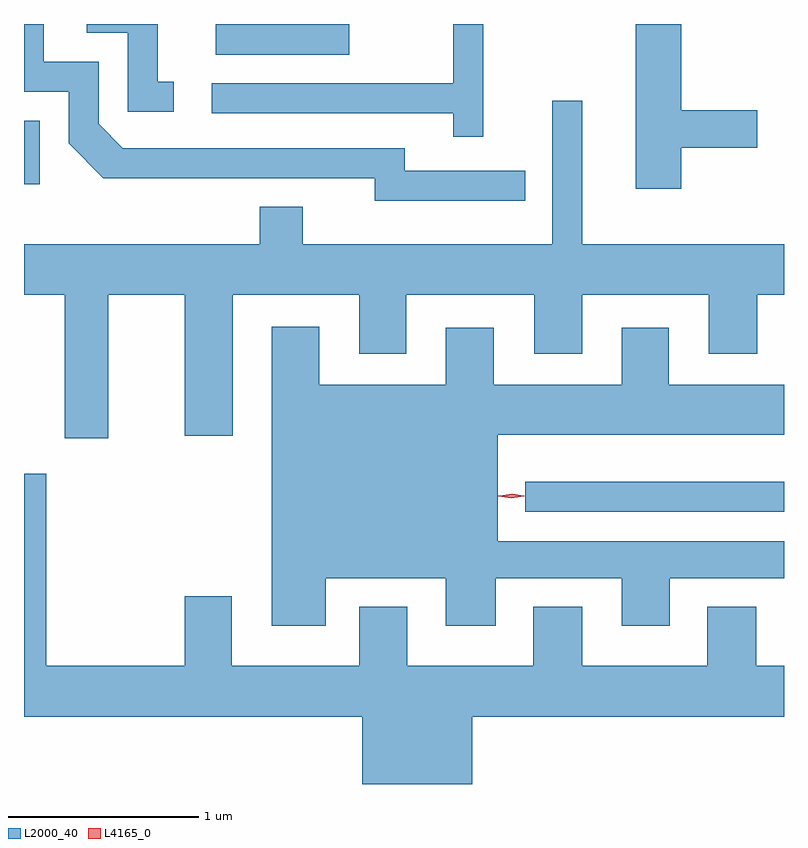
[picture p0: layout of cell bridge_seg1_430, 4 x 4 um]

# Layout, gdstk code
import gdstk
lib = gdstk.Library(unit=1e-6, precision=1e-09)
def R(c, l, rs):  # rectangles x0, y0, x1, y1
    for r in rs: c.add(gdstk.rectangle(r[:2], r[2:], *l))
def P(c, l, *ps):  # polygons
    for p in ps: c.add(gdstk.Polygon(p, *l))
L2000_40 = (2000, 40)
L4165_0 = (4165, 0)

bridge_seg1_430 = lib.new_cell('bridge_seg1_430')
R(bridge_seg1_430, L2000_40, [(323.453,847.376,324.816,847.534), (320.816,849.098,320.899,849.434), (321.826,849.781,322.528,849.942)])
P(bridge_seg1_430, L2000_40, [(321.603,849.639),(321.519,849.639),(321.519,849.942),(321.146,849.942),(321.146,849.896),(321.361,849.896),(321.361,849.481),(321.603,849.481)],
  [(323.453,849.169),(322.819,849.169),(322.819,849.289),(321.337,849.289),(321.209,849.417),(321.209,849.744),(320.919,849.744),(320.919,849.942),(320.816,849.942),(320.816,849.586),(321.051,849.586),(321.051,849.314),(321.234,849.131),(322.661,849.131),(322.661,849.011),(323.453,849.011)],
  [(323.234,849.942),(323.076,849.942),(323.076,849.629),(321.803,849.629),(321.803,849.471),(323.076,849.471),(323.076,849.348),(323.234,849.348)],
  [(324.274,849.291),(324.674,849.291),(324.674,849.489),(324.274,849.489),(324.274,849.942),(324.036,849.942),(324.036,849.076),(324.274,849.076)],
  [(321.259,848.516),(321.661,848.516),(321.661,847.776),(321.914,847.776),(321.914,848.516),(322.581,848.516),(322.581,848.206),(322.829,848.206),(322.829,848.516),(323.501,848.516),(323.501,848.206),(323.754,848.206),(323.754,848.516),(324.421,848.516),(324.421,848.206),(324.674,848.206),(324.674,848.516),(324.816,848.516),(324.816,848.784),(323.754,848.784),(323.754,849.538),(323.596,849.538),(323.596,848.784),(322.284,848.784),(322.284,848.979),(322.056,848.979),(322.056,848.784),(320.816,848.784),(320.816,848.516),(321.031,848.516),(321.031,847.761),(321.259,847.761)],
  [(322.404,847.026),(323.036,847.026),(323.036,846.776),(323.299,846.776),(323.299,847.026),(323.961,847.026),(323.961,846.776),(324.214,846.776),(324.214,847.026),(324.816,847.026),(324.816,847.219),(323.309,847.219),(323.309,847.781),(324.816,847.781),(324.816,848.044),(324.209,848.044),(324.209,848.344),(323.961,848.344),(323.961,848.044),(323.289,848.044),(323.289,848.344),(323.036,848.344),(323.036,848.044),(322.369,848.044),(322.369,848.349),(322.121,848.349),(322.121,846.776),(322.404,846.776)],
  [(323.174,846.296),(324.816,846.296),(324.816,846.564),(324.669,846.564),(324.669,846.874),(324.411,846.874),(324.411,846.564),(323.754,846.564),(323.754,846.874),(323.496,846.874),(323.496,846.564),(322.834,846.564),(322.834,846.874),(322.581,846.874),(322.581,846.564),(321.909,846.564),(321.909,846.929),(321.661,846.929),(321.661,846.564),(320.934,846.564),(320.934,847.574),(320.816,847.574),(320.816,846.296),(322.596,846.296),(322.596,845.942),(323.174,845.942)])
P(bridge_seg1_430, L4165_0, [(323.385,847.45),(323.323,847.459),(323.322,847.46),(323.323,847.46),(323.385,847.47),(323.446,847.46),(323.447,847.46),(323.446,847.459)],
  [(323.381,847.447),(323.312,847.457),(323.312,847.457),(323.312,847.458),(323.381,847.467),(323.45,847.458),(323.45,847.457),(323.45,847.457)])

lib.write_gds('bridge_seg1_430.gds')
